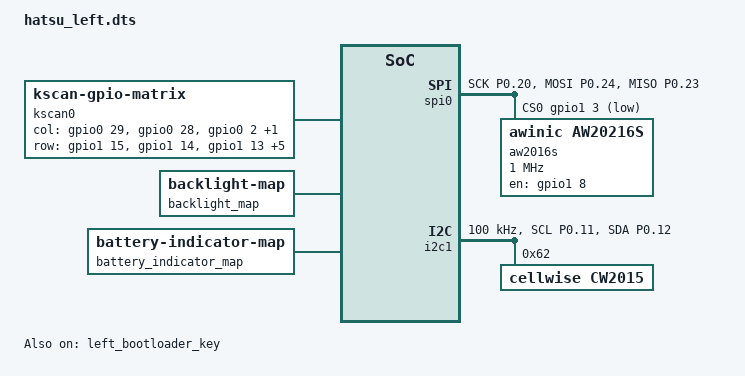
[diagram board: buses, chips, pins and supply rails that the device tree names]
#include "hatsu.dtsi"

/ {
    chosen {
        zmk,backlight = &aw2016s;
        zmk,backlight-map = &backlight_map;
        zmk,battery-indicator-map = &battery_indicator_map;
        zmk,battery = &cw2015;
        zmk,battery-indicator = &aw2016s;
    };

    kscan0: kscan {
        compatible = "zmk,kscan-gpio-matrix";
        diode-direction = "row2col";
        col-gpios
            = <&gpio0 29 (GPIO_ACTIVE_HIGH | GPIO_PULL_DOWN)>
            , <&gpio0 28 (GPIO_ACTIVE_HIGH | GPIO_PULL_DOWN)>
            , <&gpio0 2 (GPIO_ACTIVE_HIGH | GPIO_PULL_DOWN)>
            , <&gpio0 3 (GPIO_ACTIVE_HIGH | GPIO_PULL_DOWN)>;

        row-gpios
            = <&gpio1 15 (GPIO_ACTIVE_HIGH | GPIO_PULL_DOWN)>
            , <&gpio1 14 (GPIO_ACTIVE_HIGH | GPIO_PULL_DOWN)>
            , <&gpio1 13 (GPIO_ACTIVE_HIGH | GPIO_PULL_DOWN)>
            , <&gpio1 12 (GPIO_ACTIVE_HIGH | GPIO_PULL_DOWN)>
            , <&gpio1 11 (GPIO_ACTIVE_HIGH | GPIO_PULL_DOWN)>
            , <&gpio1 10 (GPIO_ACTIVE_HIGH | GPIO_PULL_DOWN)>
            , <&gpio0 31 (GPIO_ACTIVE_HIGH | GPIO_PULL_DOWN)>
            , <&gpio0 30 (GPIO_ACTIVE_HIGH | GPIO_PULL_DOWN)>;
    };

    backlight_map: backlight_map {
        compatible = "zmk,backlight-map";
        led-channels
            = <&backlight_led_0>
            , <&backlight_led_1>
            , <&backlight_led_2>
            , <&backlight_led_3>
            , <&backlight_led_4>
            , <&backlight_led_5>
            , <&backlight_led_6>
            , <&backlight_led_7>
            , <&backlight_led_8>
            , <&backlight_led_9>
            , <&backlight_led_10>
            , <&backlight_led_11>
            , <&backlight_led_12>
            , <&backlight_led_13>
            , <&backlight_led_14>
            , <&backlight_led_15>
            , <&backlight_led_16>
            , <&backlight_led_17>
            , <&backlight_led_18>
            , <&backlight_led_19>
            , <&backlight_led_20>
            , <&backlight_led_21>
            , <&backlight_led_22>
            , <&backlight_led_23>
            , <&backlight_led_24>
            , <&backlight_led_25>;
    };

    battery_indicator_map: battery_indicator_map {
        compatible = "zmk,battery-indicator-map";
        led-channels
            = <&rgb_led0_r>
            , <&rgb_led0_g>
            , <&rgb_led0_b>
            , <&rgb_led1_r>
            , <&rgb_led1_g>
            , <&rgb_led1_b>
            , <&rgb_led2_r>
            , <&rgb_led2_g>
            , <&rgb_led2_b>
            , <&rgb_led3_r>
            , <&rgb_led3_g>
            , <&rgb_led3_b>;
        colors = [ 00 01 02 00 01 02 00 01 02 00 01 02 ];
    };
};

&layout_grid_transform {
    col-offset = <4>;
    row-offset = <8>;
};

&left_bootloader_key {
    status = "okay";
};

&pinctrl {
    spi0_default: spi0_default {
        group1 {
            psels = <NRF_PSEL(SPIM_SCK, 0, 20)>,
                <NRF_PSEL(SPIM_MOSI, 0, 24)>,
                <NRF_PSEL(SPIM_MISO, 0, 23)>;
        };
    };

    spi0_sleep: spi0_sleep {
        group1 {
            psels = <NRF_PSEL(SPIM_SCK, 0, 20)>,
                <NRF_PSEL(SPIM_MOSI, 0, 24)>,
                <NRF_PSEL(SPIM_MISO, 0, 23)>;
            low-power-enable;
        };
    };

    i2c1_default: i2c1_default {
        group1 {
            psels = <NRF_PSEL(TWIM_SCL, 0, 11)>,
                <NRF_PSEL(TWIM_SDA, 0, 12)>;
        };
    };

    i2c1_sleep: i2c1_sleep {
        group1 {
            psels = <NRF_PSEL(TWIM_SCL, 0, 11)>,
                <NRF_PSEL(TWIM_SDA, 0, 12)>;
            low-power-enable;
        };
    };
};

&spi0 {
    compatible = "nordic,nrf-spim";
    status = "okay";
    pinctrl-0 = <&spi0_default>;
    pinctrl-1 = <&spi0_sleep>;
    pinctrl-names = "default", "sleep";

    cs-gpios = <&gpio1 3 GPIO_ACTIVE_LOW>;
    aw2016s: aw20216s@0 {
        compatible = "awinic,aw20216s";
        reg = <0>;
        en-gpios = <&gpio1 8 (GPIO_ACTIVE_HIGH | GPIO_PULL_UP)>;
        spi-max-frequency = <1000000>;

        rgb_led0_r: rgb_led0_r {
            index = <17>;
        };
        rgb_led0_g: rgb_led0_g {
            index = <16>;
        };
        rgb_led0_b: rgb_led0_b {
            index = <15>;
        };
        rgb_led1_r: rgb_led1_r {
            index = <125>;
        };
        rgb_led1_g: rgb_led1_g {
            index = <124>;
        };
        rgb_led1_b: rgb_led1_b {
            index = <123>;
        };
        rgb_led2_r: rgb_led2_r {
            index = <161>;
        };
        rgb_led2_g: rgb_led2_g {
            index = <160>;
        };
        rgb_led2_b: rgb_led2_b {
            index = <159>;
        };
        rgb_led3_r: rgb_led3_r {
            index = <197>;
        };
        rgb_led3_g: rgb_led3_g {
            index = <196>;
        };
        rgb_led3_b: rgb_led3_b {
            index = <195>;
        };

        backlight_led_0: backlight_led_0 {
            index = <36>;
        };
        backlight_led_1: backlight_led_1 {
            index = <37>;
        };
        backlight_led_2: backlight_led_2 {
            index = <38>;
        };
        backlight_led_3: backlight_led_3 {
            index = <39>;
        };
        backlight_led_4: backlight_led_4 {
            index = <40>;
        };
        backlight_led_5: backlight_led_5 {
            index = <41>;
        };
        backlight_led_6: backlight_led_6 {
            index = <42>;
        };
        backlight_led_7: backlight_led_7 {
            index = <46>;
        };
        backlight_led_8: backlight_led_8 {
            index = <54>;
        };
        backlight_led_9: backlight_led_9 {
            index = <55>;
        };
        backlight_led_10: backlight_led_10 {
            index = <56>;
        };
        backlight_led_11: backlight_led_11 {
            index = <57>;
        };
        backlight_led_12: backlight_led_12 {
            index = <58>;
        };
        backlight_led_13: backlight_led_13 {
            index = <59>;
        };
        backlight_led_14: backlight_led_14 {
            index = <60>;
        };
        backlight_led_15: backlight_led_15 {
            index = <64>;
        };
        backlight_led_16: backlight_led_16 {
            index = <72>;
        };
        backlight_led_17: backlight_led_17 {
            index = <73>;
        };
        backlight_led_18: backlight_led_18 {
            index = <74>;
        };
        backlight_led_19: backlight_led_19 {
            index = <75>;
        };
        backlight_led_20: backlight_led_20 {
            index = <76>;
        };
        backlight_led_21: backlight_led_21 {
            index = <77>;
        };
        backlight_led_22: backlight_led_22 {
            index = <78>;
        };
        backlight_led_23: backlight_led_23 {
            index = <82>;
        };
        backlight_led_24: backlight_led_24 {
            index = <92>;
        };
        backlight_led_25: backlight_led_25 {
            index = <93>;
        };
    };
};

&i2c1 {
    status = "okay";
    compatible = "nordic,nrf-twim";
    pinctrl-0 = <&i2c1_default>;
    pinctrl-1 = <&i2c1_sleep>;
    pinctrl-names = "default", "sleep";

    clock-frequency = <I2C_BITRATE_STANDARD>;

    cw2015: cw2015@62 {
        compatible = "cellwise,cw2015";
        reg = <0x62>;
    };
};
